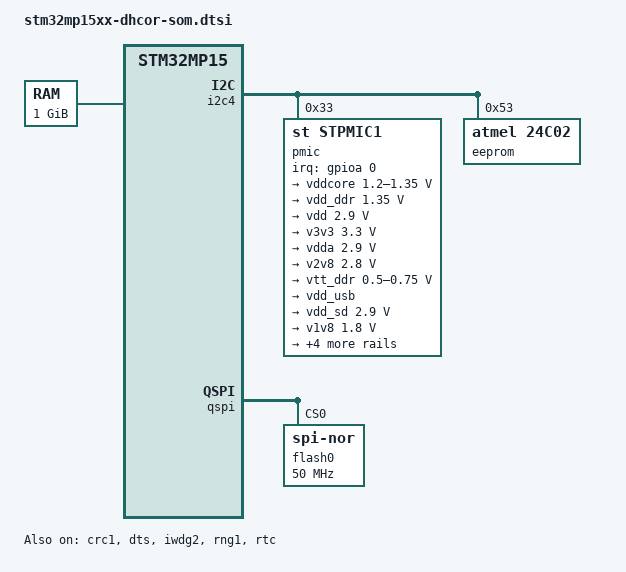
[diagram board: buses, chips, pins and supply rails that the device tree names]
// SPDX-License-Identifier: (GPL-2.0 OR BSD-3-Clause)
/*
 * Copyright (C) Linaro Ltd 2019 - All Rights Reserved
 * Author: Manivannan Sadhasivam <manivannan.sadhasivam@linaro.org>
 * Copyright (C) 2020 Marek Vasut <marex@denx.de>
 */

#include "stm32mp15-pinctrl.dtsi"
#include "stm32mp15xxac-pinctrl.dtsi"
#include <dt-bindings/gpio/gpio.h>
#include <dt-bindings/mfd/st,stpmic1.h>

/ {
	aliases {
		spi0 = &qspi;
	};

	memory@c0000000 {
		device_type = "memory";
		reg = <0xc0000000 0x40000000>;
	};
};

&crc1 {
	status = "okay";
};

&dts {
	status = "okay";
};

&i2c4 {
	pinctrl-names = "default";
	pinctrl-0 = <&i2c4_pins_a>;
	i2c-scl-rising-time-ns = <185>;
	i2c-scl-falling-time-ns = <20>;
	status = "okay";
	/delete-property/dmas;
	/delete-property/dma-names;

	pmic: stpmic@33 {
		compatible = "st,stpmic1";
		reg = <0x33>;
		interrupts-extended = <&gpioa 0 IRQ_TYPE_EDGE_FALLING>;
		interrupt-controller;
		#interrupt-cells = <2>;
		status = "okay";

		regulators {
			compatible = "st,stpmic1-regulators";

			ldo1-supply = <&v3v3>;
			ldo2-supply = <&v3v3>;
			ldo3-supply = <&vdd_ddr>;
			ldo5-supply = <&v3v3>;
			ldo6-supply = <&v3v3>;
			pwr_sw1-supply = <&bst_out>;
			pwr_sw2-supply = <&bst_out>;

			vddcore: buck1 {
				regulator-name = "vddcore";
				regulator-min-microvolt = <1200000>;
				regulator-max-microvolt = <1350000>;
				regulator-always-on;
				regulator-initial-mode = <0>;
				regulator-over-current-protection;
			};

			vdd_ddr: buck2 {
				regulator-name = "vdd_ddr";
				regulator-min-microvolt = <1350000>;
				regulator-max-microvolt = <1350000>;
				regulator-always-on;
				regulator-initial-mode = <0>;
				regulator-over-current-protection;
			};

			vdd: buck3 {
				regulator-name = "vdd";
				regulator-min-microvolt = <2900000>;
				regulator-max-microvolt = <2900000>;
				regulator-always-on;
				regulator-initial-mode = <0>;
				regulator-over-current-protection;
			};

			v3v3: buck4 {
				regulator-name = "v3v3";
				regulator-min-microvolt = <3300000>;
				regulator-max-microvolt = <3300000>;
				regulator-always-on;
				regulator-over-current-protection;
				regulator-initial-mode = <0>;
			};

			vdda: ldo1 {
				regulator-name = "vdda";
				regulator-min-microvolt = <2900000>;
				regulator-max-microvolt = <2900000>;
				interrupts = <IT_CURLIM_LDO1 0>;
			};

			v2v8: ldo2 {
				regulator-name = "v2v8";
				regulator-min-microvolt = <2800000>;
				regulator-max-microvolt = <2800000>;
				interrupts = <IT_CURLIM_LDO2 0>;
			};

			vtt_ddr: ldo3 {
				regulator-name = "vtt_ddr";
				regulator-min-microvolt = <500000>;
				regulator-max-microvolt = <750000>;
				regulator-always-on;
				regulator-over-current-protection;
			};

			vdd_usb: ldo4 {
				regulator-name = "vdd_usb";
				interrupts = <IT_CURLIM_LDO4 0>;
			};

			vdd_sd: ldo5 {
				regulator-name = "vdd_sd";
				regulator-min-microvolt = <2900000>;
				regulator-max-microvolt = <2900000>;
				interrupts = <IT_CURLIM_LDO5 0>;
				regulator-boot-on;
			};

			v1v8: ldo6 {
				regulator-name = "v1v8";
				regulator-min-microvolt = <1800000>;
				regulator-max-microvolt = <1800000>;
				interrupts = <IT_CURLIM_LDO6 0>;
				regulator-enable-ramp-delay = <300000>;
			};

			vref_ddr: vref_ddr {
				regulator-name = "vref_ddr";
				regulator-always-on;
			};

			bst_out: boost {
				regulator-name = "bst_out";
				interrupts = <IT_OCP_BOOST 0>;
			};

			vbus_otg: pwr_sw1 {
				regulator-name = "vbus_otg";
				interrupts = <IT_OCP_OTG 0>;
				regulator-active-discharge = <1>;
			};

			vbus_sw: pwr_sw2 {
				regulator-name = "vbus_sw";
				interrupts = <IT_OCP_SWOUT 0>;
				regulator-active-discharge = <1>;
			};
		};

		onkey {
			compatible = "st,stpmic1-onkey";
			interrupts = <IT_PONKEY_F 0>, <IT_PONKEY_R 1>;
			interrupt-names = "onkey-falling", "onkey-rising";
			status = "okay";
		};

		watchdog {
			compatible = "st,stpmic1-wdt";
			status = "disabled";
		};
	};

	eeprom@53 {
		compatible = "atmel,24c02";
		reg = <0x53>;
		pagesize = <16>;
	};
};

&iwdg2 {
	timeout-sec = <32>;
	status = "okay";
};

&pwr_regulators {
	vdd-supply = <&vdd>;
	vdd_3v3_usbfs-supply = <&vdd_usb>;
};

&qspi {
	pinctrl-names = "default", "sleep";
	pinctrl-0 = <&qspi_clk_pins_a &qspi_bk1_pins_a>;
	pinctrl-1 = <&qspi_clk_sleep_pins_a &qspi_bk1_sleep_pins_a>;
	reg = <0x58003000 0x1000>, <0x70000000 0x200000>;
	#address-cells = <1>;
	#size-cells = <0>;
	status = "okay";

	flash0: flash@0 {
		compatible = "jedec,spi-nor";
		reg = <0>;
		spi-rx-bus-width = <4>;
		spi-max-frequency = <50000000>;
		#address-cells = <1>;
		#size-cells = <1>;
	};
};

&rng1 {
	status = "okay";
};

&rtc {
	status = "okay";
};
